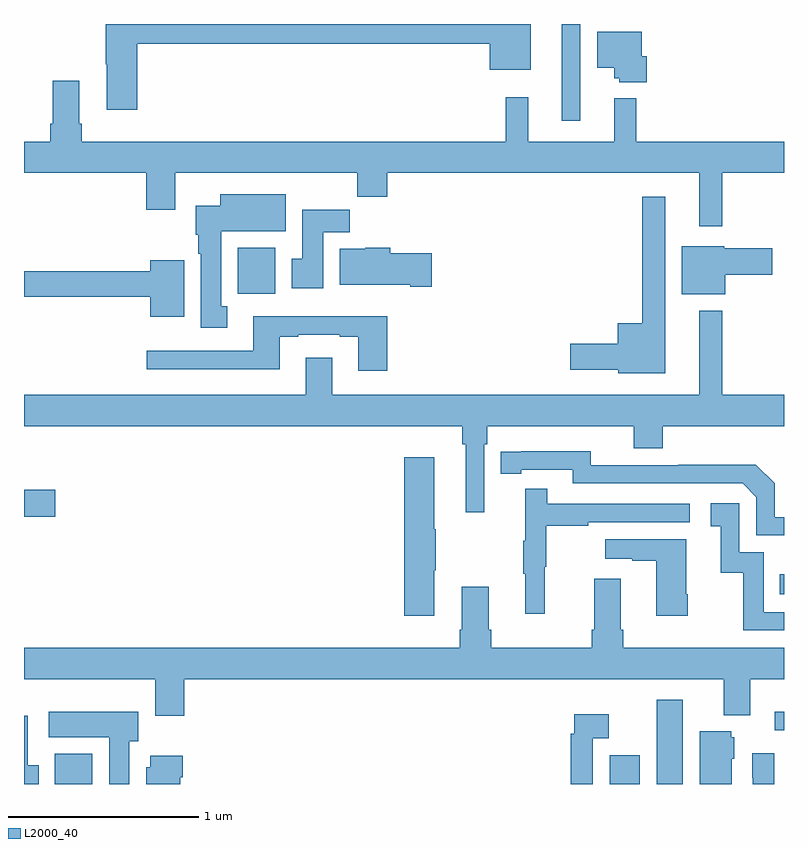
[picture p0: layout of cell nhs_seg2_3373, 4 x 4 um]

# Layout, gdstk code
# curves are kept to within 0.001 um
import gdstk
lib = gdstk.Library(unit=1e-6, precision=1e-09)
def R(c, l, rs):  # rectangles x0, y0, x1, y1
    for r in rs: c.add(gdstk.rectangle(r[:2], r[2:], *l))
def P(c, l, *ps):  # polygons
    for p in ps: c.add(gdstk.Polygon(p, *l))
L2000_40 = (2000, 40)

nhs_seg2_3373 = lib.new_cell('nhs_seg2_3373')
R(nhs_seg2_3373, L2000_40, [(289.163,597.8,289.36,597.958), (292.082,597.8,292.24,597.952), (292.331,597.8,292.468,598.243), (292.95,598.083,293,598.18), (292.978,598.8,293,598.905), (289,599.207,289.165,599.349), (290.126,600.38,290.323,600.622), (291.83,601.29,291.927,601.8)])
P(nhs_seg2_3373, L2000_40, [(289.595,601.696),(291.452,601.696),(291.452,601.559),(291.667,601.559),(291.667,601.8),(289.429,601.8),(289.429,601.588),(289.436,601.588),(289.436,601.35),(289.595,601.35)],
  [(292.277,601.629),(292.252,601.629),(292.252,601.759),(292.016,601.759),(292.016,601.571),(292.106,601.571),(292.106,601.515),(292.134,601.515),(292.134,601.493),(292.277,601.493)],
  [(292.675,601.016),(293,601.016),(293,601.18),(292.223,601.18),(292.223,601.408),(292.106,601.408),(292.106,601.18),(291.653,601.18),(291.653,601.414),(291.535,601.414),(291.535,601.18),(289.304,601.18),(289.304,601.276),(289.291,601.276),(289.291,601.501),(289.151,601.501),(289.151,601.276),(289.139,601.276),(289.139,601.18),(289,601.18),(289,601.016),(289.643,601.016),(289.643,600.822),(289.795,600.822),(289.795,601.016),(290.755,601.016),(290.755,600.892),(290.912,600.892),(290.912,601.016),(292.553,601.016),(292.553,600.735),(292.675,600.735)],
  [(290.071,600.314),(290.038,600.314),(290.038,600.71),(290.377,600.71),(290.377,600.904),(290.033,600.904),(290.033,600.844),(289.904,600.844),(289.904,600.69),(289.916,600.69),(289.916,600.59),(289.931,600.59),(289.931,600.201),(290.071,600.201)],
  [(292.375,600.892),(292.254,600.892),(292.254,600.226),(292.124,600.226),(292.124,600.116),(291.876,600.116),(291.876,599.981),(292.128,599.981),(292.128,599.963),(292.375,599.963)],
  [(290.575,600.704),(290.714,600.704),(290.714,600.822),(290.465,600.822),(290.465,600.564),(290.408,600.564),(290.408,600.408),(290.575,600.408)],
  [(292.69,600.479),(292.939,600.479),(292.939,600.621),(292.686,600.621),(292.686,600.631),(292.463,600.631),(292.463,600.377),(292.69,600.377)],
  [(291.145,600.594),(290.927,600.594),(290.927,600.622),(290.796,600.622),(290.796,600.616),(290.663,600.616),(290.663,600.428),(291.032,600.428),(291.032,600.416),(291.145,600.416)],
  [(289.843,600.556),(289.664,600.556),(289.664,600.5),(289,600.5),(289,600.364),(289.664,600.364),(289.664,600.26),(289.843,600.26)],
  [(291.423,599.588),(291.437,599.588),(291.437,599.684),(292.208,599.684),(292.208,599.567),(292.361,599.567),(292.361,599.684),(293,599.684),(293,599.848),(292.675,599.848),(292.675,600.292),(292.553,600.292),(292.553,599.848),(290.623,599.848),(290.623,600.043),(290.483,600.043),(290.483,599.848),(289,599.848),(289,599.684),(291.307,599.684),(291.307,599.588),(291.326,599.588),(291.326,599.229),(291.423,599.229)],
  [(290.912,600.262),(290.207,600.262),(290.207,600.081),(289.647,600.081),(289.647,599.984),(290.347,599.984),(290.347,600.153),(290.443,600.153),(290.443,600.165),(290.663,600.165),(290.663,600.153),(290.759,600.153),(290.759,599.976),(290.912,599.976)],
  [(293,599.205),(292.95,599.205),(292.95,599.382),(292.852,599.48),(292.444,599.48),(292.444,599.478),(291.984,599.478),(291.984,599.551),(291.508,599.55),(291.508,599.434),(291.616,599.434),(291.616,599.454),(291.888,599.454),(291.888,599.382),(292.782,599.382),(292.854,599.31),(292.854,599.109),(293,599.109)],
  [(291.16,598.924),(291.168,598.924),(291.168,599.141),(291.16,599.141),(291.16,599.521),(291.002,599.521),(291.002,598.686),(291.16,598.686)],
  [(291.74,598.944),(291.748,598.944),(291.748,599.158),(291.971,599.158),(291.971,599.178),(292.504,599.178),(292.504,599.274),(291.755,599.274),(291.755,599.353),(291.638,599.353),(291.638,599.081),(291.627,599.081),(291.627,598.907),(291.638,598.907),(291.638,598.695),(291.74,598.695)],
  [(293,598.704),(292.893,598.704),(292.893,599.019),(292.764,599.019),(292.764,599.278),(292.614,599.278),(292.614,599.157),(292.667,599.157),(292.667,598.911),(292.785,598.911),(292.785,598.608),(293,598.608)],
  [(292.494,598.798),(292.486,598.798),(292.486,599.089),(292.059,599.089),(292.059,598.985),(292.202,598.985),(292.202,598.975),(292.328,598.975),(292.328,598.686),(292.494,598.686)],
  [(289.844,598.352),(292.682,598.352),(292.682,598.163),(292.822,598.163),(292.822,598.352),(293,598.352),(293,598.516),(292.154,598.516),(292.154,598.612),(292.141,598.612),(292.141,598.879),(292.001,598.879),(292.001,598.612),(291.989,598.612),(291.989,598.516),(291.458,598.516),(291.458,598.612),(291.445,598.612),(291.445,598.837),(291.305,598.837),(291.305,598.612),(291.293,598.612),(291.293,598.516),(289,598.516),(289,598.352),(289.691,598.352),(289.691,598.158),(289.844,598.158)],
  [(289.555,598.026),(289.6,598.026),(289.6,598.18),(289.131,598.18),(289.131,598.046),(289.448,598.046),(289.448,597.8),(289.555,597.8)],
  [(291.993,598.04),(292.078,598.04),(292.078,598.168),(291.897,598.168),(291.897,598.064),(291.877,598.064),(291.877,597.8),(291.993,597.8)],
  [(289.078,597.9),(289.021,597.9),(289.021,598.159),(289,598.159),(289,597.8),(289.078,597.8)],
  [(292.725,597.933),(292.738,597.933),(292.738,598.047),(292.722,598.047),(292.722,598.078),(292.556,598.078),(292.556,597.8),(292.725,597.8)],
  [(292.948,597.961),(292.832,597.961),(292.832,597.833),(292.836,597.833),(292.836,597.8),(292.948,597.8)],
  [(289.822,597.836),(289.835,597.836),(289.835,597.949),(289.664,597.949),(289.664,597.888),(289.643,597.888),(289.643,597.8),(289.822,597.8)])

lib.write_gds('nhs_seg2_3373.gds')
